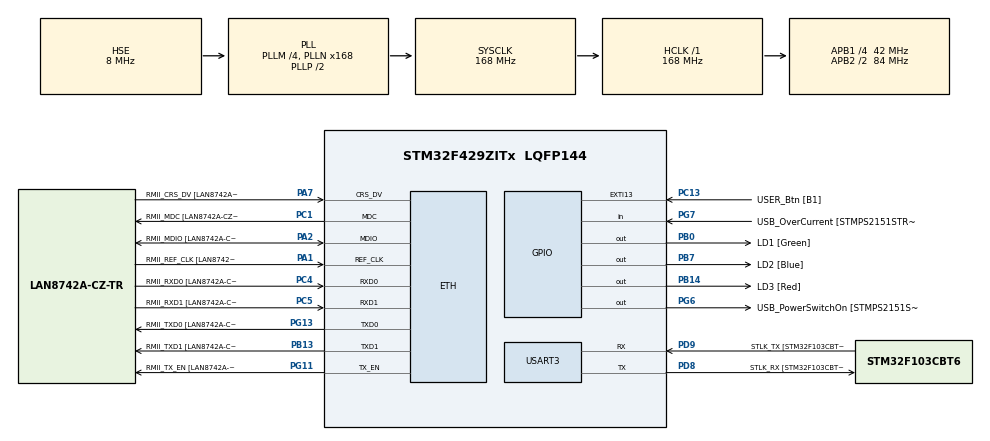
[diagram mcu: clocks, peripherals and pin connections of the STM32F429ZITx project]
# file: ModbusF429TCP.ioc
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ETH.MACAddr=00\:80\:E1\:00\:00\:01
ETH.MediaInterface=ETH_MEDIA_INTERFACE_RMII
ETH.PHY_Name=LAN8742A_PHY_ADDRESS
ETH.PHY_Value=0
ETH.PhyAddress=0
FREERTOS.Tasks01=defaultTask,24,128,StartDefaultTask,Default,NULL,Dynamic,NULL,NULL;myTaskModbusTes,8,256,StartTask02,Default,NULL,Dynamic,NULL,NULL
FREERTOS.configTOTAL_HEAP_SIZE=32536
FREERTOS.configUSE_NEWLIB_REENTRANT=1
LWIP.IP_ADDRESS=010.075.015.010
LWIP.LWIP_DHCP=0
LWIP.LWIP_IPV6=0
LWIP.NETMASK_ADDRESS=255.255.252.000
LWIP.Version=v2.1.2_Cube
Mcu.Family=STM32F4
Mcu.Name=STM32F429ZITx
Mcu.Package=LQFP144
NVIC.ETH_IRQn=true\:5\:0\:false\:false\:true\:true\:false\:true
NVIC.PriorityGroup=NVIC_PRIORITYGROUP_4
NVIC.TIM8_UP_TIM13_IRQn=true\:0\:0\:false\:false\:true\:false\:false\:true
NVIC.TimeBase=TIM8_UP_TIM13_IRQn
NVIC.TimeBaseIP=TIM13
NVIC.USART3_IRQn=true\:5\:0\:false\:false\:true\:true\:true\:true
PA1.GPIO_Label=RMII_REF_CLK [LAN8742A-CZ-TR_REFCLK0]
PA1.Mode=RMII
PA1.Signal=ETH_REF_CLK
PA10.GPIO_Label=USB_ID
PA10.Signal=USB_OTG_FS_ID
PA11.GPIO_Label=USB_DM
PA11.Signal=USB_OTG_FS_DM
PA12.GPIO_Label=USB_DP
PA12.Signal=USB_OTG_FS_DP
PA13.GPIO_Label=TMS
PA13.Mode=Serial_Wire
PA13.Signal=SYS_JTMS-SWDIO
PA14.GPIO_Label=TCK
PA14.Mode=Serial_Wire
PA14.Signal=SYS_JTCK-SWCLK
PA2.GPIO_Label=RMII_MDIO [LAN8742A-CZ-TR_MDIO]
PA2.Mode=RMII
PA2.Signal=ETH_MDIO
PA7.GPIO_Label=RMII_CRS_DV [LAN8742A-CZ-TR_CRS_DV]
PA7.Mode=RMII
PA7.Signal=ETH_CRS_DV
PA8.GPIO_Label=USB_SOF [TP1]
PA8.Signal=USB_OTG_FS_SOF
PA9.GPIO_Label=USB_VBUS
PA9.Signal=USB_OTG_FS_VBUS
PB0.GPIO_Label=LD1 [Green]
PB0.Signal=GPIO_Output
PB13.GPIO_Label=RMII_TXD1 [LAN8742A-CZ-TR_TXD1]
PB13.Mode=RMII
PB13.Signal=ETH_TXD1
PB14.GPIO_Label=LD3 [Red]
PB14.Signal=GPIO_Output
PB7.GPIO_Label=LD2 [Blue]
PB7.Signal=GPIO_Output
PC1.GPIO_Label=RMII_MDC [LAN8742A-CZ-TR_MDC]
PC1.Mode=RMII
PC1.Signal=ETH_MDC
PC13.GPIO_Label=USER_Btn [B1]
PC13.Signal=GPXTI13
PC14/OSC32_IN.Mode=LSE-External-Oscillator
PC14/OSC32_IN.Signal=RCC_OSC32_IN
PC15/OSC32_OUT.Mode=LSE-External-Oscillator
PC15/OSC32_OUT.Signal=RCC_OSC32_OUT
PC4.GPIO_Label=RMII_RXD0 [LAN8742A-CZ-TR_RXD0]
PC4.Mode=RMII
PC4.Signal=ETH_RXD0
PC5.GPIO_Label=RMII_RXD1 [LAN8742A-CZ-TR_RXD1]
PC5.Mode=RMII
PC5.Signal=ETH_RXD1
PD8.GPIO_Label=STLK_RX [STM32F103CBT6_PA3]
PD8.Mode=Asynchronous
PD8.Signal=USART3_TX
PD9.GPIO_Label=STLK_TX [STM32F103CBT6_PA2]
PD9.Mode=Asynchronous
PD9.Signal=USART3_RX
PG11.GPIO_Label=RMII_TX_EN [LAN8742A-CZ-TR_TXEN]
PG11.Mode=RMII
PG11.Signal=ETH_TX_EN
PG13.GPIO_Label=RMII_TXD0 [LAN8742A-CZ-TR_TXD0]
PG13.Mode=RMII
PG13.Signal=ETH_TXD0
PG6.GPIO_Label=USB_PowerSwitchOn [STMPS2151STR_EN]
PG6.Signal=GPIO_Output
PG7.GPIO_Label=USB_OverCurrent [STMPS2151STR_FAULT]
PG7.Signal=GPIO_Input
PH0/OSC_IN.GPIO_Label=MCO [STM32F103CBT6_PA8]
PH0/OSC_IN.Mode=HSE-External-Clock-Source
PH0/OSC_IN.Signal=RCC_OSC_IN
PH1/OSC_OUT.Mode=HSE-External-Clock-Source
PH1/OSC_OUT.Signal=RCC_OSC_OUT
ProjectManager.HeapSize=0x200
ProjectManager.StackSize=0x400
ProjectManager.TargetToolchain=STM32CubeIDE
RCC.48MHZClocksFreq_Value=48000000
RCC.AHBFreq_Value=168000000
RCC.APB1CLKDivider=RCC_HCLK_DIV4
RCC.APB1Freq_Value=42000000
RCC.APB1TimFreq_Value=84000000
RCC.APB2CLKDivider=RCC_HCLK_DIV2
RCC.APB2Freq_Value=84000000
RCC.APB2TimCLKDivider=2
RCC.APB2TimFreq_Value=168000000
RCC.CortexFreq_Value=168000000
RCC.HCLKFreq_Value=168000000
RCC.HSE_VALUE=8000000
RCC.HSI_VALUE=16000000
RCC.PLLM=4
RCC.PLLMUL=RCC_PLL_MUL9
RCC.PLLN=168
RCC.PLLQ=7
RCC.PLLSourceVirtual=RCC_PLLSOURCE_HSE
RCC.PRESCALERUSB=RCC_USBCLKSOURCE_PLL_DIV1_5
RCC.SYSCLKFreq_VALUE=168000000
RCC.SYSCLKSource=RCC_SYSCLKSOURCE_PLLCLK
RCC.SYSCLKSourceVirtual=RCC_SYSCLKSOURCE_PLLCLK
RCC.USBFreq_Value=48000000
RCC.VCOOutputFreq_Value=336000000
USART3.VirtualMode=VM_ASYNC
VP_FREERTOS_VS_CMSIS_V2.Mode=CMSIS_V2
VP_LWIP_VS_Enabled.Mode=Enabled
VP_SYS_VS_tim13.Mode=TIM13
board=NUCLEO-F429ZI

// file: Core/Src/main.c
/* USER CODE BEGIN Header */
/**
  ******************************************************************************
  * @file           : main.c
  * @brief          : Main program body
  ******************************************************************************
  * @attention
  *
  * <h2><center>&copy; Copyright (c) 2021 STMicroelectronics.
  * All rights reserved.</center></h2>
  *
  * This software component is licensed by ST under BSD 3-Clause license,
  * the "License"; You may not use this file except in compliance with the
  * License. You may obtain a copy of the License at:
  *                        opensource.org/licenses/BSD-3-Clause
  *
  ******************************************************************************
  */
/* USER CODE END Header */
#include "main.h"
#include "cmsis_os.h"
#include "lwip.h"
#include "usart.h"
#include "gpio.h"

/* USER CODE BEGIN Includes */
 uint32_t eth_is_initialized;
/* USER CODE END Includes */

/* USER CODE BEGIN PV */
modbusHandler_t ModbusH;
uint16_t ModbusDATA[16];

modbusHandler_t ModbusH2;
uint16_t ModbusDATA2[16];
/* USER CODE END PV */

void SystemClock_Config(void);
void MX_FREERTOS_Init(void);

int main(void)
{

  /* MCU Configuration--------------------------------------------------------*/

  /* Reset of all peripherals, Initializes the Flash interface and the Systick. */
  HAL_Init();

  /* Configure the system clock */
  SystemClock_Config();

  /* Initialize all configured peripherals */
  MX_GPIO_Init();
  MX_USART3_UART_Init();
  /* USER CODE BEGIN 2 */

  /* Modbus TCP initialization */

  //ModbusH.uModbusType = MB_SLAVE;
  ModbusH.uModbusType = MB_MASTER;
  //ModbusH.port =  &huart3; //this is not used for TCP
  ModbusH.u8id = 1; //slave ID
  ModbusH.u8id = 0; //slave ID for master always 0
  //ModbusH.u16timeOut = 10; // For a slave keep this value around 10 for better responsiveness,
  ModbusH.u16timeOut = 100; // for a master it could be higher depending on the slave speed
  ModbusH.EN_Port = NULL; // No RS485
   //ModbusH2.EN_Port = LD2_GPIO_Port; // RS485 Enable
   //ModbusH2.EN_Pin = LD2_Pin; // RS485 Enable
  ModbusH.u16regs = ModbusDATA;
  ModbusH.u16regsize= sizeof(ModbusDATA)/sizeof(ModbusDATA[0]);
  ModbusH.xTypeHW = TCP_HW; // TCP hardware
  ModbusH.uTcpPort = 502;   // used only for the slave (i.e., server)

  //Initialize Modbus library
  ModbusInit(&ModbusH);
  //Start capturing traffic on serial Port and initialize counters
  ModbusStart(&ModbusH);

  ModbusH2.uModbusType = MB_SLAVE;
  //ModbusH.uModbusType = MB_MASTER;
  ModbusH2.port =  &huart3;
  ModbusH2.u8id = 10; //slave ID
  //ModbusH.u8id = 0; //slave ID for master always 0
  ModbusH2.u16timeOut = 1000;
  ModbusH2.EN_Port = NULL; // No RS485
   //ModbusH2.EN_Port = LD2_GPIO_Port; // RS485 Enable
   //ModbusH2.EN_Pin = LD2_Pin; // RS485 Enable
  ModbusH2.u16regs = ModbusDATA2;
  ModbusH2.u16regsize= sizeof(ModbusDATA2)/sizeof(ModbusDATA2[0]);
  ModbusH2.xTypeHW = USART_HW; // Serial USART hardware

  //Initialize Modbus library
  ModbusInit(&ModbusH2);
  //Initialize counters
  ModbusStart(&ModbusH2);

  /* USER CODE END 2 */

  /* Init scheduler */
  osKernelInitialize();  /* Call init function for freertos objects (in freertos.c) */
  MX_FREERTOS_Init();
  /* Start scheduler */
  osKernelStart();

  /* We should never get here as control is now taken by the scheduler */
  /* Infinite loop */
  while (1)
  {

  }
}

void SystemClock_Config(void)
{
  RCC_OscInitTypeDef RCC_OscInitStruct = {0};
  RCC_ClkInitTypeDef RCC_ClkInitStruct = {0};

  /** Configure the main internal regulator output voltage
  */
  __HAL_RCC_PWR_CLK_ENABLE();
  __HAL_PWR_VOLTAGESCALING_CONFIG(PWR_REGULATOR_VOLTAGE_SCALE1);
  /** Initializes the RCC Oscillators according to the specified parameters
  * in the RCC_OscInitTypeDef structure.
  */
  RCC_OscInitStruct.OscillatorType = RCC_OSCILLATORTYPE_HSE;
  RCC_OscInitStruct.HSEState = RCC_HSE_BYPASS;
  RCC_OscInitStruct.PLL.PLLState = RCC_PLL_ON;
  RCC_OscInitStruct.PLL.PLLSource = RCC_PLLSOURCE_HSE;
  RCC_OscInitStruct.PLL.PLLM = 4;
  RCC_OscInitStruct.PLL.PLLN = 168;
  RCC_OscInitStruct.PLL.PLLP = RCC_PLLP_DIV2;
  RCC_OscInitStruct.PLL.PLLQ = 7;
  if (HAL_RCC_OscConfig(&RCC_OscInitStruct) != HAL_OK)
  {
    Error_Handler();
  }
  /** Initializes the CPU, AHB and APB buses clocks
  */
  RCC_ClkInitStruct.ClockType = RCC_CLOCKTYPE_HCLK|RCC_CLOCKTYPE_SYSCLK
                              |RCC_CLOCKTYPE_PCLK1|RCC_CLOCKTYPE_PCLK2;
  RCC_ClkInitStruct.SYSCLKSource = RCC_SYSCLKSOURCE_PLLCLK;
  RCC_ClkInitStruct.AHBCLKDivider = RCC_SYSCLK_DIV1;
  RCC_ClkInitStruct.APB1CLKDivider = RCC_HCLK_DIV4;
  RCC_ClkInitStruct.APB2CLKDivider = RCC_HCLK_DIV2;

  if (HAL_RCC_ClockConfig(&RCC_ClkInitStruct, FLASH_LATENCY_5) != HAL_OK)
  {
    Error_Handler();
  }
}

void HAL_TIM_PeriodElapsedCallback(TIM_HandleTypeDef *htim)
{
  if (htim->Instance == TIM13) {
    HAL_IncTick();
  }
}

void Error_Handler(void)
{
  __disable_irq();
  while (1)
  {
  }
}

/************************ (C) COPYRIGHT STMicroelectronics *****END OF FILE****/

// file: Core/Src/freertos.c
/* USER CODE BEGIN Header */
/**
  ******************************************************************************
  * File Name          : freertos.c
  * Description        : Code for freertos applications
  ******************************************************************************
  * @attention
  *
  * <h2><center>&copy; Copyright (c) 2021 STMicroelectronics.
  * All rights reserved.</center></h2>
  *
  * This software component is licensed by ST under Ultimate Liberty license
  * SLA0044, the "License"; You may not use this file except in compliance with
  * the License. You may obtain a copy of the License at:
  *                             www.st.com/SLA0044
  *
  ******************************************************************************
  */
/* USER CODE END Header */

#include "FreeRTOS.h"
#include "task.h"
#include "main.h"
#include "cmsis_os.h"

/* USER CODE BEGIN Includes */
#include "ip_addr.h"
#include "ethernetif.h"
/* USER CODE END Includes */

/* USER CODE BEGIN PTD */
#include "semphr.h"
/* USER CODE END PTD */

/* Definitions for defaultTask */
osThreadId_t defaultTaskHandle;
const osThreadAttr_t defaultTask_attributes = {
  .name = "defaultTask",
  .stack_size = 128 * 4,
  .priority = (osPriority_t) osPriorityNormal,
};
/* Definitions for myTaskModbusTes */
osThreadId_t myTaskModbusTesHandle;
const osThreadAttr_t myTaskModbusTes_attributes = {
  .name = "myTaskModbusTes",
  .stack_size = 256 * 8,
  .priority = (osPriority_t) osPriorityLow,
};

void StartDefaultTask(void *argument);
void StartTask02(void *argument);

extern void MX_LWIP_Init(void);
void MX_FREERTOS_Init(void); /* (MISRA C 2004 rule 8.1) */

void MX_FREERTOS_Init(void) {

  /* Create the thread(s) */
  /* creation of defaultTask */
  defaultTaskHandle = osThreadNew(StartDefaultTask, NULL, &defaultTask_attributes);

  /* creation of myTaskModbusTes */
  myTaskModbusTesHandle = osThreadNew(StartTask02, NULL, &myTaskModbusTes_attributes);

}

void StartDefaultTask(void *argument)
{
  /* init code for LWIP */
  MX_LWIP_Init();
  for(;;)
  {
    osDelay(1);
  }
}

void StartTask02(void *argument)
{
  /* USER CODE BEGIN StartTask02 */
	modbus_t telegram[2];
	uint32_t u32NotificationValue;

	telegram[0].u8id = 1; // slave address
	telegram[0].u8fct = MB_FC_WRITE_MULTIPLE_REGISTERS; // function code (this one is registers read)
	//telegram[0].u16RegAdd = 0x160; // start address in slave
	telegram[0].u16RegAdd = 0x0; // start address in slave
	telegram[0].u16CoilsNo = 10; // number of elements (coils or registers) to read
	telegram[0].u16reg = ModbusDATA; // pointer to a memory array in the microcontroller
	IP_ADDR4((ip4_addr_t *)&telegram[0].xIpAddress, 10, 75, 15, 61); //address of the slave
	telegram[0].u16Port = 5020;
	telegram[0].u8clientID = 0; // this identifies the TCP client session. The library supports up to "NUMBERTCPCONN"
							 //	simultaneous connections to different slaves. The value is defined in ModbusConfig.h file.
							 // The library uses the IP and port to open the TCP connection and keep the connection open regardless
							 // of later changes to those values. To change the IP address and Port, close the connection
							 // using the corresponding u8clientID, update the IP and Port and execute a new ModbusQuery.

	telegram[1].u8id = 1; // slave address
	telegram[1].u8fct = MB_FC_WRITE_MULTIPLE_REGISTERS; // function code (this one is registers read)
	//telegram[0].u16RegAdd = 0x160; // start address in slave
	telegram[1].u16RegAdd = 0x0; // start address in slave
	telegram[1].u16CoilsNo = 10; // number of elements (coils or registers) to read
	telegram[1].u16reg = ModbusDATA; // pointer to a memory array in the microcontroller
	IP_ADDR4((ip4_addr_t *)&telegram[1].xIpAddress, 10, 75, 15, 61); //address of the slave
	telegram[1].u16Port = 5024;
	telegram[1].u8clientID = 1; //this telegram will use the second connection slot

	for(;;)
	{

		/* Send query Modbus TCP */

		ModbusDATA[0]++;
		ModbusQuery(&ModbusH, telegram[0]); // make a query
	    u32NotificationValue = ulTaskNotifyTake(pdTRUE, portMAX_DELAY); // block until query finishes or timeouts
	    if(u32NotificationValue != OP_OK_QUERY)
	    {
	     //handle error

	    	ModbusDATA[1]++;
	    }

	    ModbusDATA[0]++;
	    ModbusQuery(&ModbusH, telegram[1]); // make a query
	    u32NotificationValue = ulTaskNotifyTake(pdTRUE, portMAX_DELAY); // block until query finishes or timeouts
	    if(u32NotificationValue != OP_OK_QUERY)
	    {
	    	ModbusDATA[2]++;
	    }

	    /* Update input from */
/*
	    xSemaphoreTake(ModbusH2.ModBusSphrHandle , portMAX_DELAY);
	    HAL_GPIO_WritePin(LD2_GPIO_Port, LD2_Pin, ModbusH2.u16regs[0] & 0x1);
	    xSemaphoreGive(ModbusH2.ModBusSphrHandle);
*/
	    osDelay(250);

	}
  /* USER CODE END StartTask02 */
}

/* USER CODE BEGIN Application */
void ethernetif_notify_conn_changed(struct netif *netif)
{
  /* NOTE : This is function could be implemented in user file
            when the callback is needed,
  */

	ethernetif_set_link(&netif);

}
/* USER CODE END Application */

/************************ (C) COPYRIGHT STMicroelectronics *****END OF FILE****/
